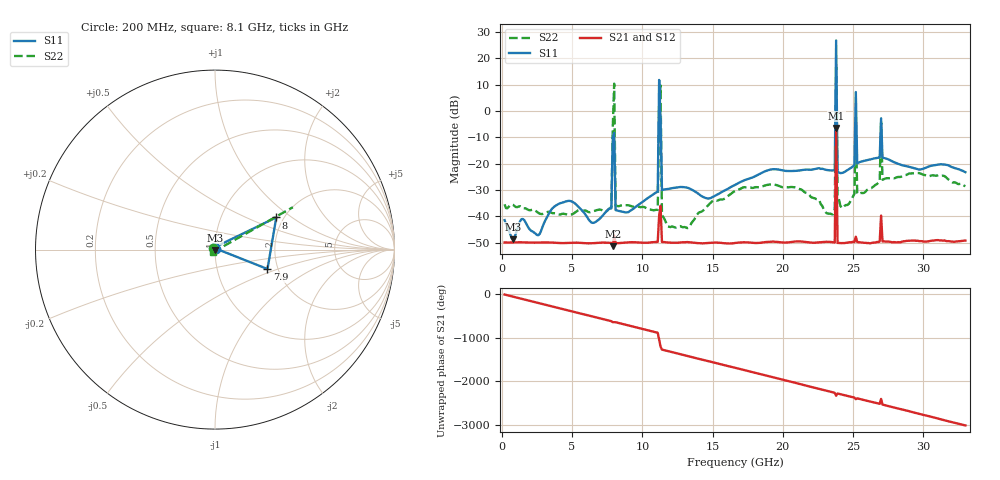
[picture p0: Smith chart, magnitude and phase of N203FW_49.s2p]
# GHZ S RI R 50
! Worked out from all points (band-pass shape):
!   329 points, 200 MHz to 33 GHz, reference 50 ohm
!   highest |S21| = -6.38 dB at 23.8 GHz (marker M1); lowest = -51.4 dB at 7.9 GHz (marker M2)
!   |S21| within 3 dB of the highest: 23.79312 GHz to 23.80686 GHz (13.74 MHz wide, 0.0577 % of centre)
!   lowest |S11| = -48.8 dB at 800 MHz (marker M3), VSWR 1.01, Z = 50 - j0.363 ohm
!   |S11| at or under -10 dB: start of sweep to 7.907 GHz; 11.33 GHz to 23.73 GHz (12.4 GHz wide, 70.7 % of centre); 27.05 GHz to end of sweep (the widest 3 of 6)
!   |S22| runs from -44.5 to 16.7 dB; largest |S21 - S12| = 0.02
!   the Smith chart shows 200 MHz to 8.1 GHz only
!   S11 on the Smith chart (normalised r, x): 200 MHz: 1.01, +0.01; 7.9 GHz: 1.76, -0.42; 8 GHz: 1.83, +0.77; 8.1 GHz: 1.00, +0.03
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0.2  0.00601 0.00592  0.00305 -0.000894  0.00306 -0.000887  -0.0139 0.00957
0.8  0.000155 -0.00363  0.00139 -0.00287  0.00138 -0.00287  -0.0127 0.0106
5.7  0.00655 0.0112  -0.00045 -0.00308  -0.000466 -0.00308  0.0068 -0.0108
7.8  -0.00893 0.0109  -0.000207 0.0031  -0.000215 0.00311  -0.00825 -0.0126
7.9  0.2924 -0.1082  0.000841 0.00257  0.000829 0.00247  0.4337 0.2361
8  0.3414 0.1793  0.00133 0.00414  0.000867 0.00615  2.883 1.643
8.1  -0.00167 0.013  0.00103 0.0029  0.00105 0.0029  -0.0116 -0.011
11.1  0.00463 0.0291  -0.00322 -0.000531  -0.00321 -0.000528  -0.0113 0.00692
11.2  2.61 2.904  0.00913 0.00465  0.016 0.023  -0.7184 -0.8898
11.3  0.6601 0.3079  -0.0092 -0.0128  -0.00979 -0.0102  0.1961 3.061
11.4  0.021 0.0232  -0.00313 0.000887  -0.00312 0.000894  -0.00765 0.00708
16.6  -0.0329 0.0217  -0.00105 0.00292  -0.00105 0.00292  -0.0296 0.00504
22.1  -0.03 -0.0711  0.00285 0.00134  0.00286 0.00134  0.0194 0.0115
23.7  0.0404 0.0629  -0.000786 -0.00307  -0.00078 -0.00308  0.0091 -0.0104
23.8  18.19 12.34  -0.4742 -0.0709  -0.4767 -0.0717  -2.062 6.489
23.9  0.0585 0.0395  -0.00155 -0.0027  -0.00156 -0.0027  0.00465 -0.0254
25.1  -0.0409 -0.0845  -0.00266 0.00183  -0.00269 0.00184  -0.0249 -0.00989
25.2  2.2 0.6565  -0.00139 0.00384  -0.00118 0.00386  0.3054 0.5169
25.3  -0.0757 -0.0674  -0.00205 0.00251  -0.00203 0.0025  -0.0276 -0.00364
27  0.4687 -0.5567  -0.00453 0.00925  -0.000838 0.00105  -0.2193 0.551
27.6  0.1143 -0.029  0.00184 -0.00272  0.00189 -0.00268  -0.0358 0.0388
33  0.0185 0.0662  -0.00226 -0.0026  -0.00226 -0.00257  0.0355 0.0113
